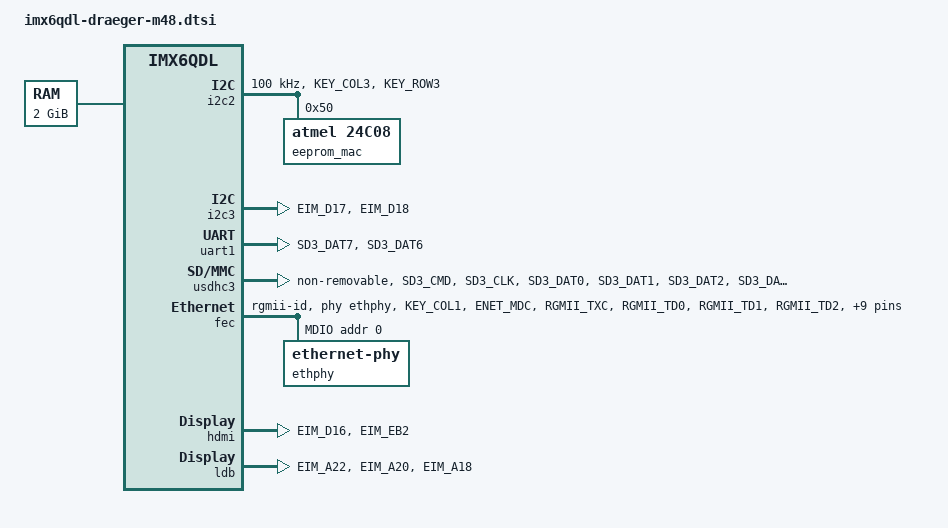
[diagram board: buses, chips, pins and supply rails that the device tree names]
// SPDX-License-Identifier: GPL-2.0+
/*
 *  (C) Copyright 2020 Draeger and Licensors, info@draeger.com
 *  Based on work by Russell King
 *
 *  Device Tree file for Drager M48 Board
 */
#include <dt-bindings/clock/imx6qdl-clock.h>
#include <dt-bindings/gpio/gpio.h>
#include <dt-bindings/input/input.h>

&iomuxc {
	m48 {
		pinctrl_m48_uart1: m48-uart1 {
			fsl,pins = <
				MX6QDL_PAD_SD3_DAT7__UART1_TX_DATA 0x1b010
				MX6QDL_PAD_SD3_DAT6__UART1_RX_DATA 0x1b010
			>;
		};

		pinctrl_m48_hdmi: m48-hdmi {
			fsl,pins = <
				MX6QDL_PAD_EIM_D16__HDMI_TX_DDC_SDA 0x1b0b0
				MX6QDL_PAD_EIM_EB2__HDMI_TX_DDC_SCL 0x1b0b0
			>;
		};

		pinctrl_m48_lvds: m48-lvds {
			fsl,pins = <
				MX6QDL_PAD_EIM_A22__GPIO2_IO16 0x1b010 /* DISPLAY_EN */
				MX6QDL_PAD_EIM_A20__GPIO2_IO18 0x1b010 /* BACKLIGHT_EN */
				MX6QDL_PAD_EIM_A18__GPIO2_IO20 0x1b010 /* DISP0_CONTRAST */
			>;
		};

		pinctrl_m48_i2c2: m48-i2c2 {
			fsl,pins = <
				MX6QDL_PAD_KEY_COL3__I2C2_SCL 0x4001b820
				MX6QDL_PAD_KEY_ROW3__I2C2_SDA 0x4001b820
			>;
		};

		pinctrl_m48_i2c2_gpio: m48-i2c2_gpio {
			fsl,pins = <
				MX6QDL_PAD_KEY_COL3__GPIO4_IO12 0x1b820
				MX6QDL_PAD_KEY_ROW3__GPIO4_IO13 0x1b820
			>;
#define GP_I2C2_SCL <&gpio4 12 GPIO_ACTIVE_HIGH>
#define GP_I2C2_SDA <&gpio4 13 GPIO_ACTIVE_HIGH>
		};

		pinctrl_m48_i2c3: m48-i2c3 {
			fsl,pins = <
				MX6QDL_PAD_EIM_D17__I2C3_SCL 0x4001b820
				MX6QDL_PAD_EIM_D18__I2C3_SDA 0x4001b820
			>;
		};

		pinctrl_m48_i2c3_gpio: m48-i2c3_gpio {
			fsl,pins = <
				MX6QDL_PAD_EIM_D17__GPIO3_IO17 0x1b820
				MX6QDL_PAD_EIM_D18__GPIO3_IO18 0x1b820
			>;
#define GP_I2C3_SCL <&gpio3 17 GPIO_ACTIVE_HIGH>
#define GP_I2C3_SDA <&gpio3 18 GPIO_ACTIVE_HIGH>
		};

		pinctrl_m48_usdhc3: m48-usdhc3 {
			fsl,pins = <
				MX6QDL_PAD_SD3_CMD__SD3_CMD 0x1B060
				MX6QDL_PAD_SD3_CLK__SD3_CLK 0x1B060
				MX6QDL_PAD_SD3_DAT0__SD3_DATA0 0x1B060
				MX6QDL_PAD_SD3_DAT1__SD3_DATA1 0x1B060
				MX6QDL_PAD_SD3_DAT2__SD3_DATA2 0x1B060
				MX6QDL_PAD_SD3_DAT3__SD3_DATA3 0x1B060
				MX6QDL_PAD_NANDF_CS1__SD3_VSELECT 0x1B060
			>;
		};

		pinctrl_m48_enet: enetgrp {
			fsl,pins = <
				MX6QDL_PAD_KEY_COL1__ENET_MDIO 0x1b0b0
				MX6QDL_PAD_ENET_MDC__ENET_MDC 0x1b0b0
				MX6QDL_PAD_RGMII_TXC__RGMII_TXC 0x13018
				MX6QDL_PAD_RGMII_TD0__RGMII_TD0 0x1B018
				MX6QDL_PAD_RGMII_TD1__RGMII_TD1 0x1B018
				MX6QDL_PAD_RGMII_TD2__RGMII_TD2 0x1B018
				MX6QDL_PAD_RGMII_TD3__RGMII_TD3 0x1B018
				MX6QDL_PAD_RGMII_TX_CTL__RGMII_TX_CTL 0x13018
				MX6QDL_PAD_ENET_REF_CLK__ENET_TX_CLK 0x1b0b0
				MX6QDL_PAD_RGMII_RXC__RGMII_RXC 0x13030
				MX6QDL_PAD_RGMII_RD0__RGMII_RD0 0x1B030
				MX6QDL_PAD_RGMII_RD1__RGMII_RD1 0x1B030
				MX6QDL_PAD_RGMII_RD2__RGMII_RD2 0x1B030
				MX6QDL_PAD_RGMII_RD3__RGMII_RD3 0x1B030
				MX6QDL_PAD_RGMII_RX_CTL__RGMII_RX_CTL 0x13030
				MX6QDL_PAD_CTL_GRP_DDR_TYPE_RGMII 0x80000000
				MX6QDL_PAD_CTL_GRP_RGMII_TERM 0x80000000
			>;
		};
	};
};

&i2c2 {
	clock-frequency = <100000>;
	pinctrl-names = "default", "gpio";
	pinctrl-0 = <&pinctrl_m48_i2c2>;
	pinctrl-1 = <&pinctrl_m48_i2c2_gpio>;
	scl-gpios = GP_I2C2_SCL;
	sda-gpios = GP_I2C2_SDA;
	status = "okay";

	eeprom_mac: eeprom@50 {
		compatible = "atmel,24c08";
		reg = <0x50>;
		pagesize = <16>;
	};
};

&i2c3 {
	pinctrl-names = "default", "gpio";
	pinctrl-0 = <&pinctrl_m48_i2c3>;
	pinctrl-1 = <&pinctrl_m48_i2c3_gpio>;
	scl-gpios = GP_I2C3_SCL;
	sda-gpios = GP_I2C3_SDA;
	status = "okay";
};

&uart1 {
	pinctrl-names = "default";
	pinctrl-0 = <&pinctrl_m48_uart1>;
	status = "okay";
};

&usdhc3 {
	pinctrl-names = "default";
	pinctrl-0 = <&pinctrl_m48_usdhc3>;
	non-removable;
	fsl,wp-controller;
	status = "okay";
};

&fec {
	pinctrl-names = "default";
	pinctrl-0 = <&pinctrl_m48_enet>;
	phy-mode = "rgmii-id";
	phy-handle = <&ethphy>;
	status = "okay";

	mdio {
		#address-cells = <1>;
		#size-cells = <0>;

		ethphy: ethernet-phy@0 {
			reg = <0>;
			rxc-skew-ps = <1380>;
			rxd0-skew-ps = <0>;
			rxd1-skew-ps = <0>;
			rxd2-skew-ps = <0>;
			rxd3-skew-ps = <0>;
			rxdv-skew-ps = <0>;
			txc-skew-ps = <1860>;
			txd0-skew-ps = <0>;
			txd1-skew-ps = <0>;
			txd2-skew-ps = <0>;
			txd3-skew-ps = <0>;
			txen-skew-ps = <0>;
			status = "okay";
		};
	};
};

&hdmi {
	status = "okay";
	pinctrl-names = "default";
	pinctrl-0 = <&pinctrl_m48_hdmi>;

	display-timings {
		native-mode = <&hdmi0>;

		hdmi0: hdmi {
			clock-frequency = <65000000>;
			hactive = <1024>;
			vactive = <768>;
			hback-porch = <220>;
			hfront-porch = <40>;
			vback-porch = <21>;
			vfront-porch = <7>;
			hsync-len = <60>;
			vsync-len = <10>;
		};

		hdmi1: hdmi-1280x800-24@60 {
			clock-frequency = <71000000>;
			hactive = <1280>;
			vactive = <800>;
			hback-porch = <80>;
			hfront-porch = <48>;
			vback-porch = <14>;
			vfront-porch = <3>;
			hsync-len = <32>;
			vsync-len = <6>;
		};

		hdmi2: hdmi-1366x768-32@60 {
			clock-frequency = <72000000>;
			hactive = <1366>;
			vactive = <768>;
			hback-porch = <80>;
			hfront-porch = <48>;
			vback-porch = <14>;
			vfront-porch = <3>;
			hsync-len = <32>;
			vsync-len = <5>;
		};
	};
};

&ldb {
	status = "okay";
	pinctrl-names = "default";
	pinctrl-0 = <&pinctrl_m48_lvds>;

	lvds-channel@0 {
		fsl,data-mapping = "spwg";
		fsl,default-data-width = <24>;
		status = "okay";

		display-timings {
			native-mode = <&timing0>;

			timing0: 1920x1080-32@60 {
				fsl,dual-channel;

				/* LVDS split mode */
				clock-frequency = <71190000>;

				/* pixclk /2 */
				hactive = <1920>;
				vactive = <1080>;
				hback-porch = <60>;

				/* left * 2 */
				hfront-porch = <60>;

				/* right * 2 */
				vback-porch = <30>;
				vfront-porch = <3>;
				hsync-len = <60>;

				/* hsync * 2 */
				vsync-len = <17>;
			};

			timing1: 1366x768-32@60 {
				clock-frequency = <72000000>;
				hactive = <1366>;
				vactive = <768>;
				hback-porch = <80>;
				hfront-porch = <48>;
				vback-porch = <14>;
				vfront-porch = <3>;
				hsync-len = <32>;
				vsync-len = <5>;
			};

			timing2: 1280x800-24@60 {
				fsl,data-width = <18>;
				clock-frequency = <71000000>;
				hactive = <1280>;
				vactive = <800>;
				hback-porch = <80>;
				hfront-porch = <48>;
				vback-porch = <14>;
				vfront-porch = <3>;
				hsync-len = <32>;
				vsync-len = <6>;
			};

			timing3: Tianma_1280x800-24@60 {
				fsl,data-width = <18>;
				clock-frequency = <67254000>;
				hactive = <1280>;
				vactive = <800>;
				hback-porch = <5>;
				hfront-porch = <27>;
				vback-porch = <2>;
				vfront-porch = <26>;
				hsync-len = <32>;
				vsync-len = <6>;
			};

			timing4: 1024x768-24@60 {
				fsl,data-width = <18>;
				clock-frequency = <65000000>;
				hactive = <1024>;
				vactive = <768>;
				hback-porch = <160>;
				hfront-porch = <24>;
				vback-porch = <29>;
				vfront-porch = <3>;
				hsync-len = <136>;
				vsync-len = <6>;
			};

			timing5: 800x600-32@60 {
				clock-frequency = <40000000>;
				hactive = <800>;
				vactive = <600>;
				hback-porch = <120>;
				hfront-porch = <40>;
				vback-porch = <28>;
				vfront-porch = <13>;
				hsync-len = <80>;
				vsync-len = <4>;
			};

			timing6: 800x480-32@60 {
				clock-frequency = <25000000>;
				hactive = <800>;
				vactive = <480>;
				hback-porch = <8>;
				hfront-porch = <8>;
				vback-porch = <8>;
				vfront-porch = <8>;
				hsync-len = <4>;
				vsync-len = <4>;
			};

			timing7: 640x480-32@60 {
				clock-frequency = <25175000>;
				hactive = <640>;
				vactive = <480>;
				hback-porch = <48>;
				hfront-porch = <16>;
				vback-porch = <33>;
				vfront-porch = <10>;
				hsync-len = <96>;
				vsync-len = <2>;
			};
		};
	};
};

/ {
	aliases {
		mmc0 = &usdhc3;
		mmc1 = &usdhc4;
		eeprom_mac = &eeprom_mac;
	};

	/* Will be filled by the bootloader */
	memory@10000000 {
		device_type = "memory";
		reg = <0x10000000 0x80000000>;
	};

	chosen {
		stdout-path = &uart1;
	};

	config {
		#ifdef LEGACY_BOOT
		bootcmd = "startM48;errorMsg";
			bootcmd = "startKernel;errorMsg";
		#endif

	};
};
